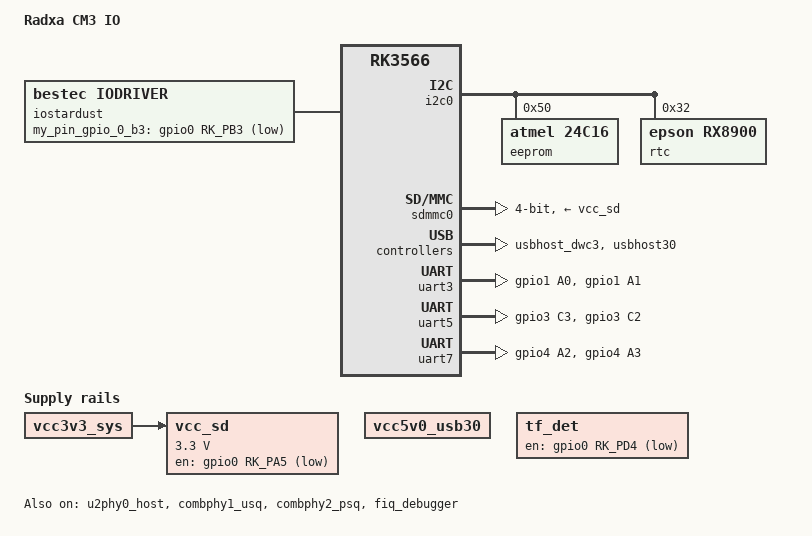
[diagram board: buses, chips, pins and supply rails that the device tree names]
// SPDX-License-Identifier: (GPL-2.0+ OR MIT)
/*
 * Copyright (c) 2020 Rockchip Electronics Co., Ltd.
 * Copyright (c) 2022 Radxa Limited.
 *
 */

/dts-v1/;

#include "base_stardust.dtsi"
//#include "bestec-hdmi.dtsi"
#include <dt-bindings/display/rockchip_vop.h>
#include "bestec-10fhd.dtsi"

/ {
	model = "Radxa CM3 IO";
	compatible = "radxa,radxa-cm3-io", "rockchip,rk3566";

	hdmi_sound: hdmi-sound {
		compatible = "simple-audio-card";
		simple-audio-card,format = "i2s";
		simple-audio-card,mclk-fs = <128>;
		simple-audio-card,name = "rockchip,hdmi";

		simple-audio-card,cpu {
				sound-dai = <&i2s0_8ch>;
		};
		simple-audio-card,codec {
				sound-dai = <&hdmi>;
		};
	};

	vcc5v0_usb30: vcc5v0-usb30-regulator {
		compatible = "regulator-fixed";
		enable-active-high;
		//gpio = <&gpio3 RK_PC2 GPIO_ACTIVE_HIGH>;
		//pinctrl-names = "default";	
		//pinctrl-0 = <&vcc5v0_usb30_en>;	// uart5 와 겹침
		regulator-name = "vcc5v0_usb30";
		regulator-always-on;
		regulator-boot-on;
	};

	vcc_sd: sdmmc-regulator {
		compatible = "regulator-fixed";
		gpio = <&gpio0 RK_PA5 GPIO_ACTIVE_LOW>;
		pinctrl-names = "default";
		pinctrl-0 = <&sdmmc_pwren>;
		regulator-name = "vcc_sd";
		regulator-min-microvolt = <3300000>;
		regulator-max-microvolt = <3300000>;
		startup-delay-us = <100000>;
		vin-supply = <&vcc3v3_sys>;
	};

	tf_det: tf-det-regulator {
		compatible = "regulator-fixed";
		enable-active-low;
		gpio = <&gpio0 RK_PD4 GPIO_ACTIVE_LOW>;
		pinctrl-names = "default";
		pinctrl-0 = <&tf_det_en>;
		regulator-name = "tf_det";
		regulator-always-on;
		regulator-boot-on;
	};

	iostardust{
                compatible = "bestec,iodriver";
                pinctrl-names = "default";
                pinctrl-0 = <&ioport>;
                TEST,my_pin_gpio_0_b3 = <&gpio0 RK_PB3 GPIO_ACTIVE_LOW>;
                status = "okay";
        };
};

&gpio_leds {
	pi-led-green {
		gpios = <&gpio4 4 GPIO_ACTIVE_LOW>;
		linux,default-trigger = "heartbeat";
		default-state = "on";
		pinctrl-0 = <&pi_led>;
	};

	//pwr-led-red {	//usb 상당 전원과 겹침
	//	gpios = <&gpio4 15 GPIO_ACTIVE_LOW>;
	//	linux,default-trigger = "none";
	//	default-state = "on";
	//	pinctrl-0 = <&pwr_led>;
	//};
};

&rk817 {
        rtc {
                status = "disabled";
        };
};

&i2c0 {
	 eeprom@50{
                compatible = "atmel,24c16";
                reg = <0x50>;
                pagesize = <0x10>;
                status = "okay";
        };

	rtc@32 {
		compatible = "epson,rx8900";
		reg = <0x32>;
		epson,vdet-disable;
		trickle-diode-disable;
	};	
};

&i2c2 {
        eeprom@50{
                status = "disabled";
        };
};

&i2s0_8ch {
	status = "disabled";
};


&sdmmc0 {
	max-frequency = <150000000>;
	supports-sd;
	bus-width = <4>;
	cap-mmc-highspeed;
	cap-sd-highspeed;
	disable-wp;
	vmmc-supply = <&vcc_sd>;
	vqmmc-supply = <&vccio_sd>;
	pinctrl-names = "default";
	pinctrl-0 = <&sdmmc0_bus4 &sdmmc0_clk &sdmmc0_cmd &sdmmc0_det>;
	status = "okay";
	//status = "disabled";
};


&u2phy0_host {
	phy-supply = <&vcc5v0_usb30>;
	status = "okay";
};

&usbhost_dwc3 {
	status = "okay";
};

&usbhost30 {
	status = "okay";
};

&combphy1_usq {
	status = "okay";
};

&combphy2_psq {
	status = "okay";
};

&uart1 {
        status = "disabled";
        pinctrl-names = "default";
        pinctrl-0 = <&uart1m1_xfer>;
        dma-names = "!tx", "!rx";
};


&uart3 {
        status = "okay";
        pinctrl-names = "default";
        pinctrl-0 = <&uart3m0_xfer>;
        dma-names = "!tx", "!rx";
};

&uart5 {
        status = "okay";
        pinctrl-names = "default";
        pinctrl-0 = <&uart5m1_xfer>;
        dma-names = "!tx", "!rx";
};

&uart7 {
        status = "okay";
        pinctrl-names = "default";
        pinctrl-0 = <&uart7m2_xfer>;
        dma-names = "!tx", "!rx";
};


&pinctrl {
	usb {
		vcc5v0_usb30_en: vcc5v0-host-en {
			rockchip,pins = <3 RK_PC2 RK_FUNC_GPIO &pcfg_pull_none>;
		};
	};

	leds {
		pi_led: pi-led{
			rockchip,pins = <4 RK_PA4 RK_FUNC_GPIO &pcfg_pull_none>;
		};

		pwr_led: pwr-led{
			rockchip,pins = <4 RK_PB7 RK_FUNC_GPIO &pcfg_pull_none>;
		};
	};
	io_stardust{
                ioport: ioport{
                        rockchip,pins = <4 RK_PA5 RK_FUNC_GPIO &pcfg_pull_up>,// usb 하단 PWR
                                        <4 RK_PB7 RK_FUNC_GPIO &pcfg_pull_up>,// usb 상단 PWR
                                        <3 RK_PD2 RK_FUNC_GPIO &pcfg_pull_up>,// Supercap ON
                                        <0 RK_PC5 RK_FUNC_GPIO &pcfg_pull_none>,// Power On
                                        <0 RK_PC6 RK_FUNC_GPIO &pcfg_pull_up>,// Power Fail
                                        <4 RK_PA4 RK_FUNC_GPIO &pcfg_pull_none_drv_level_5>,// Run LED
                                        <0 RK_PC2 RK_FUNC_GPIO &pcfg_pull_down>,// BUZZ
                                        <4 RK_PC0 RK_FUNC_GPIO &pcfg_pull_none>;// Recovery
                };
        };


	uart1 {
                uart1m1_xfer: uart1m1-xfer {
                        rockchip,pins =
                                /* uart1_rxm1 */
                                <3 RK_PD7 4 &pcfg_pull_up_drv_level_5>,
                                /* uart1_txm1 */
                                <3 RK_PD6 4 &pcfg_pull_up_drv_level_5>;
                };
        };

        uart3 {
                uart3m0_xfer: uart3m0-xfer {
                        rockchip,pins =
                                /* uart3_rxm0 */
                                <1 RK_PA0 2 &pcfg_pull_up_drv_level_5>,
                                /* uart3_txm0 */
                                //<1 RK_PA1 2 &pcfg_pull_up_drv_level_5>;
                                <1 RK_PA1 2 &pcfg_pull_none>;
                };

        };


        uart5 {
                uart5m1_xfer: uart5m1-xfer {
                        rockchip,pins =
                                /* uart5_rxm1 */
                                <3 RK_PC3 4 &pcfg_pull_up_drv_level_5>,
                                /* uart5_txm1 */
                                <3 RK_PC2 4 &pcfg_pull_up_drv_level_5>;
                };
        };

        uart7 {
                uart7m2_xfer: uart7m2-xfer {
                        rockchip,pins =
                                /* uart5_rxm1 */
                                <4 RK_PA2 4 &pcfg_pull_up_drv_level_5>,
                                /* uart5_txm1 */
                                <4 RK_PA3 4 &pcfg_pull_up_drv_level_5>;
                };
        };


	sdcard {
		sdmmc_pwren: sdmmc-pwren {
			rockchip,pins = <0 RK_PA5 RK_FUNC_GPIO &pcfg_pull_none>;
		};

		tf_det_en: tf-det-en {
			rockchip,pins = <0 RK_PD4 RK_FUNC_GPIO &pcfg_output_low>;
		};
	};

	gmac1 {
		gmac1m0_miim: gmac1m0-miim {
			rockchip,pins =
				/* gmac1_mdcm0 */
				<3 RK_PC4 3 &pcfg_pull_none_drv_level_15>,
				/* gmac1_mdiom0 */
				<3 RK_PC5 3 &pcfg_pull_none_drv_level_15>;
		};

		gmac1m0_rx_bus2: gmac1m0-rx-bus2 {
			rockchip,pins =
				/* gmac1_rxd0m0 */
				<3 RK_PB1 3 &pcfg_pull_none_drv_level_15>,
				/* gmac1_rxd1m0 */
				<3 RK_PB2 3 &pcfg_pull_none_drv_level_15>,
				/* gmac1_rxdvcrsm0 */
				<3 RK_PB3 3 &pcfg_pull_none_drv_level_15>;
		};

		gmac1m0_tx_bus2: gmac1m0-tx-bus2 {
			rockchip,pins =
				/* gmac1_txd0m0 */
				<3 RK_PB5 3 &pcfg_pull_none_drv_level_15>,
				/* gmac1_txd1m0 */
				<3 RK_PB6 3 &pcfg_pull_none_drv_level_15>,
				/* gmac1_txenm0 */
				<3 RK_PB7 3 &pcfg_pull_none_drv_level_15>;
		};

		gmac1m0_rgmii_clk: gmac1m0-rgmii-clk {
			rockchip,pins =
				/* gmac1_rxclkm0 */
				<3 RK_PA7 3 &pcfg_pull_none_drv_level_15>,
				/* gmac1_txclkm0 */
				<3 RK_PA6 3 &pcfg_pull_none_drv_level_15>;
		};

		gmac1m0_rgmii_bus: gmac1m0-rgmii-bus {
			rockchip,pins =
				/* gmac1_rxd2m0 */
				<3 RK_PA4 3 &pcfg_pull_none_drv_level_15>,
				/* gmac1_rxd3m0 */
				<3 RK_PA5 3 &pcfg_pull_none_drv_level_15>,
				/* gmac1_txd2m0 */
				<3 RK_PA2 3 &pcfg_pull_none_drv_level_15>,
				/* gmac1_txd3m0 */
				<3 RK_PA3 3 &pcfg_pull_none_drv_level_15>;
		};

		gmac1m0_clkinout: gmac1m0-clkinout {
			rockchip,pins =
				/* gmac1_mclkinoutm0 */
				<3 RK_PC0 3 &pcfg_pull_none_drv_level_15>;
		};
	};
};


&gpio0 {
        gpio-line-names =
                /* GPIO0_A0-A3 */
                "", "", "", "",
                /* GPIO0_A4-A7 */
                "", "", "", "",

                /* GPIO0_B0-B3 */
                "b", "", "", "",
                /* GPIO0_B4-B7 */
                "", "PIN_5", "PIN_3", "PIN_13",

                /* GPIO0_C0-C3 */
                "", "", "PIN_37", "PIN_15",
                /* GPIO0_C4-C7 */
                "", "PIN_31", "PIN_33", "PIN_11",

                /* GPIO0_D0-D3 */
                "PIN_10", "PIN_8", "", "",
                /* GPIO0_D4-D7 */
                "", "", "", "";
};

&gpio1 {
        gpio-line-names =
                /* GPIO1_A0-A3 */
                "", "", "", "",
                /* GPIO1_A4-A7 */
                "", "", "", "",

                /* GPIO1_B0-B3 */
                "", "", "", "",
                /* GPIO1_B4-B7 */
                "", "", "", "",

                /* GPIO1_C0-C3 */
                "", "", "", "",
                /* GPIO1_C4-C7 */
                "", "", "", "",

                /* GPIO1_D0-D3 */
                "", "", "", "",
                /* GPIO1_D4-D7 */
                "", "", "", "";
};

&gpio2 {
        gpio-line-names =
                /* GPIO2_A0-A3 */
                "", "", "", "",
                /* GPIO2_A4-A7 */
                "", "", "", "",

                /* GPIO2_B0-B3 */
                "", "", "", "",
                /* GPIO2_B4-B7 */
                "", "", "", "",

                /* GPIO2_C0-C3 */
                "", "", "", "",
                /* GPIO2_C4-C7 */
                "", "", "", "",

                /* GPIO2_D0-D3 */
                "", "", "", "",
                /* GPIO2_D4-D7 */
                "", "", "", "";
};
&gpio3 {
        gpio-line-names =
                /* GPIO3_A0-A3 */
                "", "", "", "",
                /* GPIO3_A4-A7 */
                "", "", "", "",

                /* GPIO3_B0-B3 */
                "", "", "", "",
                /* GPIO3_B4-B7 */
                "", "", "", "",

                /* GPIO3_C0-C3 */
                "", "", "", "",
                /* GPIO3_C4-C7 */
                "", "", "PIN_22", "PIN_12",

                /* GPIO3_D0-D3 */
                "PIN_35", "PIN_40", "PIN_38", "PIN_18",
                /* GPIO3_D4-D7 */
                "PIN_16", "PIN_7", "", "";
};

&gpio4 {
        gpio-line-names =
                /* GPIO4_A0-A3 */
                "", "", "", "",
                /* GPIO4_A4-A7 */
                "", "", "PIN_24", "PIN_36",

                /* GPIO4_B0-B3 */
                "PIN_21", "PIN_29", "PIN_19", "PIN_23",
                /* GPIO4_B4-B7 */
                "PIN_27", "PIN_28", "", "",

                /* GPIO4_C0-C3 */
                "PIN_32", "", "", "",
                /* GPIO4_C4-C7 */
                "", "", "", "",

                /* GPIO4_D0-D3 */
                "", "", "", "",
                /* GPIO4_D4-D7 */
                "", "", "", "";
};
                        

&fiq_debugger {
	status = "okay";
 	rockchip,baudrate = <115200>;  /* Only 115200 and 1500000 */
};

